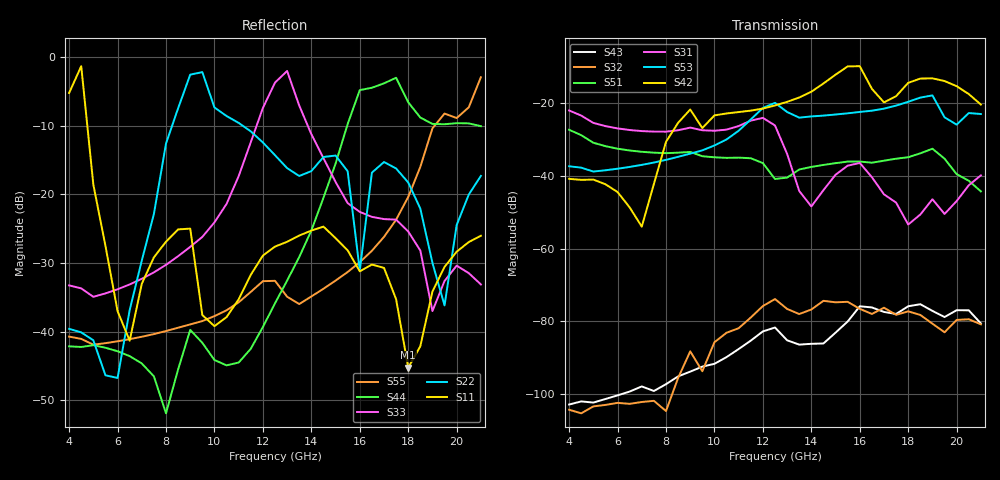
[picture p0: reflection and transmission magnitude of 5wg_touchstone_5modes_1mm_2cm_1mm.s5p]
! S-parameter export from POSTFEKO
! Filename: circular_5wg_5modes_1mm_2cm_1mm
! Creation date: 2020-01-18 02:16:51
# Hz S MA R  5.0000000E+01
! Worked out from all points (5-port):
!   35 points, 4 GHz to 21 GHz, reference 50 ohm
!   strongest paths, dB at 4 GHz, 8 GHz, 12.5 GHz, 17 GHz, 21 GHz:
!     S42: -40.8, -30.6, -20.6, -19.7, -20.3
!     S53: -37.3, -35.5, -19.9, -21.5, -22.9
!     S31: -22.0, -27.8, -26.1, -45.0, -39.8
!     S51: -27.3, -33.7, -40.8, -35.8, -44.2
!     S32: -104.3, -104.6, -73.8, -76.2, -80.8
!     S43: -102.9, -97.3, -81.7, -77.4, -80.5
!   lowest |S11| = -45.2 dB at 18 GHz (marker M1), VSWR 1.01, Z = 49.5 - j0.0453 ohm
!   |S11| at or under -10 dB: 4.751 GHz to end of sweep
